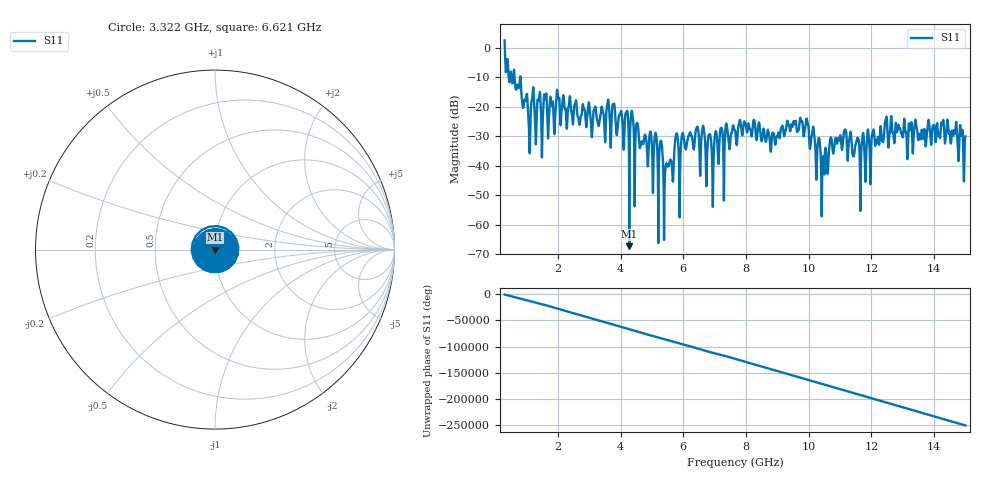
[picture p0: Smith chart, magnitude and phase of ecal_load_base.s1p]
# GHZ S RI R 50.0
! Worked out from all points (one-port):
!   12801 points, 300 MHz to 15 GHz, reference 50 ohm
!   lowest |S11| = -67.4 dB at 4.277 GHz (marker M1), VSWR 1.00, Z = 50 + j0.0364 ohm
!   |S11| at or under -10 dB: 521.3 MHz to 575.5 MHz (54.24 MHz wide, 9.89 % of centre); 616.1 MHz to 794.3 MHz (178.2 MHz wide, 25.3 % of centre); 805.5 MHz to end of sweep (the widest 3 of 4)
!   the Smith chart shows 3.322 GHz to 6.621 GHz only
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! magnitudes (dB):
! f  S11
! 300 MHz  2.5
! 1.094 GHz  -34.6
! 1.198 GHz  -15.1
! 1.312 GHz  -27.7
! 1.393 GHz  -17.8
! 1.514 GHz  -25.4
! 1.591 GHz  -17.5
! 2.138 GHz  -19.8
! 3.975 GHz  -23.0
! 4.277 GHz  -67.4
! 5.292 GHz  -31.7
! 5.43 GHz  -40.9
! 5.812 GHz  -29.9
! 6.435 GHz  -27.0
! 6.939 GHz  -51.5
! 7.037 GHz  -28.3
! 7.65 GHz  -28.1
! 8.811 GHz  -32.7
! 9.488 GHz  -26.7
! 9.941 GHz  -24.2
! 10.45 GHz  -38.8
! 10.71 GHz  -30.5
! 11.32 GHz  -29.2
! 11.64 GHz  -47.7
! 12.45 GHz  -24.6
! 13.16 GHz  -34.8
! 14.26 GHz  -26.1
! 15 GHz  -30.1
